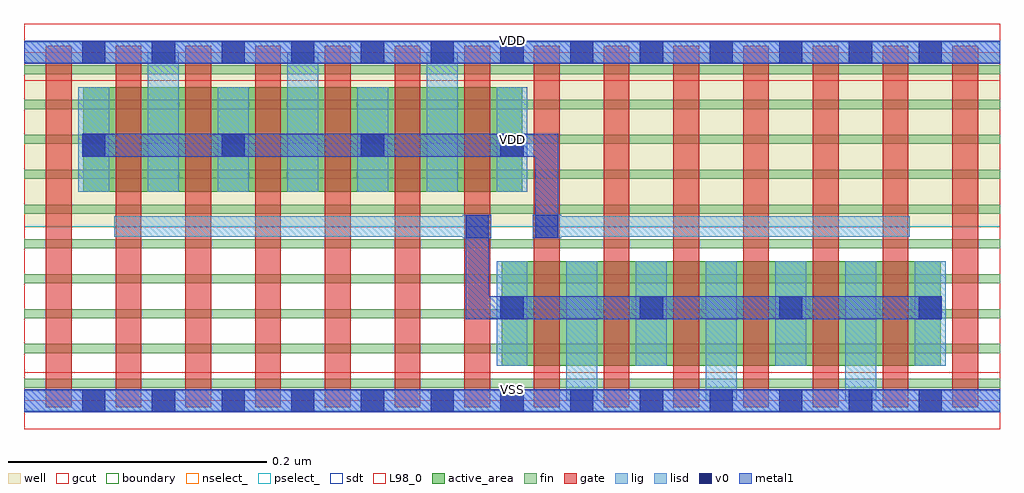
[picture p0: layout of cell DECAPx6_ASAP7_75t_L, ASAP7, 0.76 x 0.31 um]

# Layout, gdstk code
import gdstk
lib = gdstk.Library(unit=1e-6, precision=2.5e-10)
def R(c, l, rs):  # rectangles x0, y0, x1, y1
    for r in rs: c.add(gdstk.rectangle(r[:2], r[2:], *l))
def A(c, l, x, y, w, h, nx, ny, dx, dy):  # array of equal rectangles
    R(c, l, [(x+i*dx, y+j*dy, x+i*dx+w, y+j*dy+h) for i in range(nx) for j in range(ny)])
def P(c, l, *ps):  # polygons
    for p in ps: c.add(gdstk.Polygon(p, *l))
well = (1, 0)
fin = (2, 0)
gate = (7, 0)
gcut = (10, 0)
active_area = (11, 0)
nselect_ = (12, 0)
pselect_ = (13, 0)
lig = (16, 0)
lisd = (17, 0)
v0 = (18, 0)
metal1 = (19, 0)
sdt = (88, 0)
L98_0 = (98, 0)
boundary = (100, 0)

decapx6_asap7_75t_l = lib.new_cell('DECAPx6_ASAP7_75t_L')
R(decapx6_asap7_75t_l, well, [(0,0.135,0.756,0.27)])
A(decapx6_asap7_75t_l, fin, 0, 0.01, 0.756, 0.007, 1, 10, 0, 0.027)
A(decapx6_asap7_75t_l, gate, 0.017, -0.005, 0.02, 0.28, 14, 1, 0.054, 0)
R(decapx6_asap7_75t_l, gcut, [(0,-0.022,0.756,0.022), (0,0.248,0.756,0.292)])
R(decapx6_asap7_75t_l, active_area, [(0.37,0.027,0.71,0.108), (0.046,0.162,0.386,0.243)])
R(decapx6_asap7_75t_l, nselect_, [(0,0,0.756,0.135)])
R(decapx6_asap7_75t_l, pselect_, [(0,0.135,0.756,0.27)])
R(decapx6_asap7_75t_l, lig, [(0,-0.008,0.756,0.008), (0.34,0.126,0.362,0.144), (0.394,0.126,0.416,0.144), (0.07,0.127,0.362,0.143), (0.394,0.127,0.686,0.143), (0,0.262,0.756,0.278)])
A(decapx6_asap7_75t_l, lisd, 0.366, 0.027, 0.024, 0.081, 4, 1, 0.108, 0)
A(decapx6_asap7_75t_l, lisd, 0.042, 0.162, 0.024, 0.081, 4, 1, 0.108, 0)
R(decapx6_asap7_75t_l, lisd, [(0.42,0,0.444,0.108), (0.42,0,0.444,0.108), (0.528,0,0.552,0.108), (0.528,0,0.552,0.108), (0.636,0,0.66,0.108), (0.636,0,0.66,0.108), (0.096,0.162,0.12,0.27), (0.096,0.162,0.12,0.27), (0.204,0.162,0.228,0.27), (0.204,0.162,0.228,0.27), (0.312,0.162,0.336,0.27), (0.312,0.162,0.336,0.27)])
A(decapx6_asap7_75t_l, v0, 0.045, -0.009, 0.018, 0.018, 13, 2, 0.054, 0.27)
A(decapx6_asap7_75t_l, v0, 0.369, 0.063, 0.018, 0.018, 4, 1, 0.108, 0)
A(decapx6_asap7_75t_l, v0, 0.045, 0.189, 0.018, 0.018, 4, 1, 0.108, 0)
R(decapx6_asap7_75t_l, v0, [(0.342,0.126,0.36,0.144), (0.396,0.126,0.414,0.144)])
A(decapx6_asap7_75t_l, metal1, 0.369, 0.063, 0.018, 0.018, 4, 1, 0.108, 0)
A(decapx6_asap7_75t_l, metal1, 0.045, 0.189, 0.018, 0.018, 4, 1, 0.108, 0)
R(decapx6_asap7_75t_l, metal1, [(0,-0.009,0.756,0.009), (0.342,0.126,0.36,0.144), (0.396,0.126,0.414,0.144), (0,0.261,0.756,0.279)])
P(decapx6_asap7_75t_l, metal1, [(0.045,0.207),(0.045,0.189),(0.396,0.189),(0.396,0.126),(0.414,0.126),(0.414,0.207)],
  [(0.36,0.144),(0.342,0.144),(0.342,0.063),(0.711,0.063),(0.711,0.081),(0.36,0.081)])
A(decapx6_asap7_75t_l, sdt, 0.42, 0.027, 0.024, 0.081, 3, 1, 0.054, 0)
A(decapx6_asap7_75t_l, sdt, 0.528, 0.027, 0.024, 0.081, 3, 1, 0.054, 0)
A(decapx6_asap7_75t_l, sdt, 0.096, 0.162, 0.024, 0.081, 3, 1, 0.054, 0)
A(decapx6_asap7_75t_l, sdt, 0.204, 0.162, 0.024, 0.081, 3, 1, 0.054, 0)
R(decapx6_asap7_75t_l, sdt, [(0.366,0.027,0.39,0.108), (0.42,0.027,0.444,0.108), (0.636,0.027,0.66,0.108), (0.69,0.027,0.714,0.108), (0.042,0.162,0.066,0.243), (0.096,0.162,0.12,0.243), (0.312,0.162,0.336,0.243), (0.366,0.162,0.39,0.243)])
R(decapx6_asap7_75t_l, L98_0, [(0,0,0.756,0.27)])
R(decapx6_asap7_75t_l, boundary, [(0,0,0.756,0.27)])
decapx6_asap7_75t_l.add(gdstk.Label('VDD', (0.378,0.2025), layer=1, texttype=251))
decapx6_asap7_75t_l.add(gdstk.Label('VSS', (0.378,-0.0675), layer=3, texttype=251))
decapx6_asap7_75t_l.add(gdstk.Label('VSS', (0.378,0.009), layer=19, texttype=251))
decapx6_asap7_75t_l.add(gdstk.Label('VDD', (0.378,0.279), layer=19, texttype=251))

lib.write_gds('DECAPx6_ASAP7_75t_L.gds')
